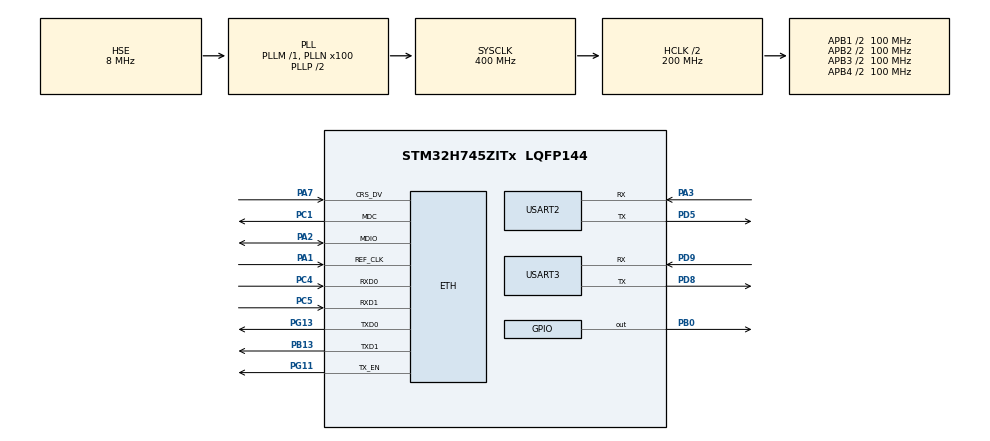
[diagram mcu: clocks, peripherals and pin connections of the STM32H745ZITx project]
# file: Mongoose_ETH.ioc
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CortexM4.IPs=FATFS_M4\:I,FREERTOS_M4\:I,IWDG2\:I,RCC,WWDG2\:I,DMA,BDMA,MDMA,NVIC2\:I,DEBUG,USB_DEVICE_M4\:I,USB_HOST_M4\:I,PDM2PCM_M4\:I,PWR,RESMGR_UTILITY,SYS_M4\:I,CORTEX_M4\:I,OPENAMP_M4\:I,VREFBUF,GPIO
CortexM7.IPs=FATFS_M7\:I,FREERTOS_M7\:I,IWDG1\:I,RCC\:I,WWDG1\:I,DMA\:I,BDMA\:I,MDMA\:I,NVIC1\:I,SYS\:I,USB_OTG_FS\:I,ETH\:I,CORTEX_M7\:I,DEBUG\:I,USB_DEVICE_M7\:I,USB_HOST_M7\:I,PDM2PCM_M7\:I,PWR\:I,RESMGR_UTILITY\:I,OPENAMP_M7\:I,VREFBUF\:I,GPIO\:I,USART3\:I,RNG\:I,TIM6\:I,USART2\:I
CortexM7.Pins=PB0
ETH.MediaInterface=HAL_ETH_RMII_MODE
ETH.RxDescAddress=0x30000000
ETH.TxDescAddress=0x30000080
FREERTOS_M7.Tasks01=defaultTask,24,1000,StartDefaultTask,Default,NULL,Static,defaultTaskBuffer,defaultTaskControlBlock;myTask02,8,1000,StartTask02,Default,NULL,Static,myTask02Buffer,myTask02ControlBlock
FREERTOS_M7.configTOTAL_HEAP_SIZE=30000
FREERTOS_M7.configUSE_NEWLIB_REENTRANT=1
Mcu.Family=STM32H7
Mcu.Name=STM32H745ZITx
Mcu.Package=LQFP144
NVIC1.ETH_IRQn=true\:5\:0\:false\:false\:true\:true\:true\:true\:true
NVIC1.PriorityGroup=NVIC_PRIORITYGROUP_4
NVIC1.TIM6_DAC_IRQn=true\:15\:0\:false\:false\:true\:false\:false\:true\:true
NVIC1.TimeBase=TIM6_DAC_IRQn
NVIC1.TimeBaseIP=TIM6
NVIC2.PriorityGroup=NVIC_PRIORITYGROUP_4
PA1.GPIO_Speed=GPIO_SPEED_FREQ_LOW
PA1.Mode=RMII
PA1.PinAttribute=CortexM7
PA1.Signal=ETH_REF_CLK
PA2.GPIO_Speed=GPIO_SPEED_FREQ_LOW
PA2.Mode=RMII
PA2.PinAttribute=CortexM7
PA2.Signal=ETH_MDIO
PA3.Mode=Asynchronous
PA3.PinAttribute=CortexM7
PA3.Signal=USART2_RX
PA7.GPIO_Speed=GPIO_SPEED_FREQ_LOW
PA7.Mode=RMII
PA7.PinAttribute=CortexM7
PA7.Signal=ETH_CRS_DV
PB0.PinAttribute=CortexM7
PB0.Signal=GPIO_Output
PB13.GPIO_Speed=GPIO_SPEED_FREQ_LOW
PB13.Mode=RMII
PB13.PinAttribute=CortexM7
PB13.Signal=ETH_TXD1
PC1.Mode=RMII
PC1.PinAttribute=CortexM7
PC1.Signal=ETH_MDC
PC4.GPIO_Speed=GPIO_SPEED_FREQ_LOW
PC4.Mode=RMII
PC4.PinAttribute=CortexM7
PC4.Signal=ETH_RXD0
PC5.GPIO_Speed=GPIO_SPEED_FREQ_LOW
PC5.Mode=RMII
PC5.PinAttribute=CortexM7
PC5.Signal=ETH_RXD1
PD5.Mode=Asynchronous
PD5.PinAttribute=CortexM7
PD5.Signal=USART2_TX
PD8.Mode=Asynchronous
PD8.PinAttribute=CortexM7
PD8.Signal=USART3_TX
PD9.Mode=Asynchronous
PD9.PinAttribute=CortexM7
PD9.Signal=USART3_RX
PG11.GPIO_Speed=GPIO_SPEED_FREQ_LOW
PG11.Mode=RMII
PG11.PinAttribute=CortexM7
PG11.Signal=ETH_TX_EN
PG13.GPIO_Speed=GPIO_SPEED_FREQ_LOW
PG13.Mode=RMII
PG13.PinAttribute=CortexM7
PG13.Signal=ETH_TXD0
PH0-OSC_IN\ (PH0).Mode=HSE-External-Oscillator
PH0-OSC_IN\ (PH0).PinAttribute=Free
PH0-OSC_IN\ (PH0).Signal=RCC_OSC_IN
PH1-OSC_OUT\ (PH1).Mode=HSE-External-Oscillator
PH1-OSC_OUT\ (PH1).PinAttribute=Free
PH1-OSC_OUT\ (PH1).Signal=RCC_OSC_OUT
ProjectManager.HeapSize=M4-0x200,M7-0x200
ProjectManager.StackSize=M4-0x400,M7-0x400
ProjectManager.TargetToolchain=STM32CubeIDE
RCC.ADCFreq_Value=16125000
RCC.APB1Freq_Value=100000000
RCC.APB2Freq_Value=100000000
RCC.APB3Freq_Value=100000000
RCC.APB4Freq_Value=100000000
RCC.CortexFreq_Value=400000000
RCC.D1PPRE=RCC_APB3_DIV2
RCC.D2PPRE1=RCC_APB1_DIV2
RCC.D2PPRE2=RCC_APB2_DIV2
RCC.D3PPRE=RCC_APB4_DIV2
RCC.DIVM1=1
RCC.DIVM3=1
RCC.DIVN1=100
RCC.DIVN3=18
RCC.DIVQ3=3
RCC.HCLKFreq_Value=200000000
RCC.HPRE=RCC_HCLK_DIV2
RCC.HSE_VALUE=8000000
RCC.PLL2FRACN=0
RCC.PLL3FRACN=6144
RCC.PLLFRACN=0
RCC.PLLSourceVirtual=RCC_PLLSOURCE_HSE
RCC.SYSCLKFreq_VALUE=400000000
RCC.SYSCLKSource=RCC_SYSCLKSOURCE_PLLCLK
RCC.SupplySource=PWR_DIRECT_SMPS_SUPPLY
RCC.USBCLockSelection=RCC_USBCLKSOURCE_PLL3
RCC.USBFreq_Value=50000000
USART2.VirtualMode-Asynchronous=VM_ASYNC
USART3.VirtualMode-Asynchronous=VM_ASYNC
VP_FREERTOS_M7_VS_CMSIS_V2.Mode=CMSIS_V2
VP_RNG_VS_RNG.Mode=RNG_Activate
VP_SYS_M4_VS_Systick.Mode=SysTick
VP_SYS_VS_tim6.Mode=TIM6
board=NUCLEO-H745ZI-Q

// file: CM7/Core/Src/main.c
/* USER CODE BEGIN Header */
/**
  ******************************************************************************
  * @file           : main.c
  * @brief          : Main program body
  ******************************************************************************
  * @attention
  *
  * Copyright (c) 2024 STMicroelectronics.
  * All rights reserved.
  *
  * This software is licensed under terms that can be found in the LICENSE file
  * in the root directory of this software component.
  * If no LICENSE file comes with this software, it is provided AS-IS.
  *
  ******************************************************************************
  */
/* USER CODE END Header */
#include "main.h"
#include "string.h"
#include "cmsis_os.h"

/* USER CODE BEGIN Includes */
/* USER CODE BEGIN Includes */
#include "mongoose_glue.h"
#include "stm32h7xx_hal.h"
#include "stm32h7xx_hal_flash.h"
#include "stdio.h"
#include "FreeRTOS.h"
#include "task.h"
#include "stdio.h"
/* USER CODE END Includes */

typedef StaticTask_t osStaticThreadDef_t;

/* USER CODE BEGIN PD */

#ifndef HSEM_ID_0
#define HSEM_ID_0 (0U) /* HW semaphore 0*/
#endif

/* USER CODE END PD */

#if defined ( __ICCARM__ ) /*!< IAR Compiler */
#pragma location=0x30000000
ETH_DMADescTypeDef  DMARxDscrTab[ETH_RX_DESC_CNT]; /* Ethernet Rx DMA Descriptors */
#pragma location=0x30000080
ETH_DMADescTypeDef  DMATxDscrTab[ETH_TX_DESC_CNT]; /* Ethernet Tx DMA Descriptors */

#elif defined ( __CC_ARM )  /* MDK ARM Compiler */

__attribute__((at(0x30000000))) ETH_DMADescTypeDef  DMARxDscrTab[ETH_RX_DESC_CNT]; /* Ethernet Rx DMA Descriptors */
__attribute__((at(0x30000080))) ETH_DMADescTypeDef  DMATxDscrTab[ETH_TX_DESC_CNT]; /* Ethernet Tx DMA Descriptors */

#elif defined ( __GNUC__ ) /* GNU Compiler */

ETH_DMADescTypeDef DMARxDscrTab[ETH_RX_DESC_CNT] __attribute__((section(".RxDescripSection"))); /* Ethernet Rx DMA Descriptors */
ETH_DMADescTypeDef DMATxDscrTab[ETH_TX_DESC_CNT] __attribute__((section(".TxDescripSection")));   /* Ethernet Tx DMA Descriptors */
#endif

ETH_TxPacketConfig TxConfig;

ETH_HandleTypeDef heth;

RNG_HandleTypeDef hrng;

UART_HandleTypeDef huart2;
UART_HandleTypeDef huart3;

/* Definitions for defaultTask */
osThreadId_t defaultTaskHandle;
uint32_t defaultTaskBuffer[ 1000 ];
osStaticThreadDef_t defaultTaskControlBlock;
const osThreadAttr_t defaultTask_attributes = {
  .name = "defaultTask",
  .cb_mem = &defaultTaskControlBlock,
  .cb_size = sizeof(defaultTaskControlBlock),
  .stack_mem = &defaultTaskBuffer[0],
  .stack_size = sizeof(defaultTaskBuffer),
  .priority = (osPriority_t) osPriorityNormal,
};
/* Definitions for myTask02 */
osThreadId_t myTask02Handle;
uint32_t myTask02Buffer[ 1000 ];
osStaticThreadDef_t myTask02ControlBlock;
const osThreadAttr_t myTask02_attributes = {
  .name = "myTask02",
  .cb_mem = &myTask02ControlBlock,
  .cb_size = sizeof(myTask02ControlBlock),
  .stack_mem = &myTask02Buffer[0],
  .stack_size = sizeof(myTask02Buffer),
  .priority = (osPriority_t) osPriorityLow,
};

void SystemClock_Config(void);
static void MX_GPIO_Init(void);
static void MX_ETH_Init(void);
static void MX_USART3_UART_Init(void);
static void MX_RNG_Init(void);
static void MX_USART2_UART_Init(void);
void StartDefaultTask(void *argument);
void StartTask02(void *argument);

/* USER CODE BEGIN PFP */
//static void run_mongoose(void);
/* USER CODE END PFP */

/* USER CODE BEGIN 0 */
bool mg_random(void *buf, size_t len) {  // Use on-board RNG
  for (size_t n = 0; n < len; n += sizeof(uint32_t)) {
    uint32_t r;
    HAL_RNG_GenerateRandomNumber(&hrng, &r);
    memcpy((char *) buf + n, &r, n + sizeof(r) > len ? len - n : sizeof(r));
  }
  return true; // TODO(): ensure successful RNG init, then return on false above
}

uint64_t mg_millis(void) {
  return HAL_GetTick();
}

int _write(int fd, unsigned char *buf, int len) {
  if (fd == 1 || fd == 2) {                     // stdout or stderr ?
    HAL_UART_Transmit(&huart3, buf, len, 999);  // Print to the UART
  }
  return len;
}

/* USER CODE END 0 */

int main(void)
{

/* USER CODE BEGIN Boot_Mode_Sequence_0 */
//  int32_t timeout;
/* USER CODE END Boot_Mode_Sequence_0 */

/* USER CODE BEGIN Boot_Mode_Sequence_1 */
  /* Wait until CPU2 boots and enters in stop mode or timeout*/
//  timeout = 0xFFFF;
//  while((__HAL_RCC_GET_FLAG(RCC_FLAG_D2CKRDY) != RESET) && (timeout-- > 0));
//  if ( timeout < 0 )
//  {
//  Error_Handler();
//  }
/* USER CODE END Boot_Mode_Sequence_1 */
  /* MCU Configuration--------------------------------------------------------*/

  /* Reset of all peripherals, Initializes the Flash interface and the Systick. */
  HAL_Init();

  /* Configure the system clock */
  SystemClock_Config();
/* USER CODE BEGIN Boot_Mode_Sequence_2 */
/* When system initialization is finished, Cortex-M7 will release Cortex-M4 by means of
HSEM notification */
/*HW semaphore Clock enable*/
//__HAL_RCC_HSEM_CLK_ENABLE();
///*Take HSEM */
//HAL_HSEM_FastTake(HSEM_ID_0);
///*Release HSEM in order to notify the CPU2(CM4)*/
//HAL_HSEM_Release(HSEM_ID_0,0);
/* wait until CPU2 wakes up from stop mode */
//timeout = 0xFFFF;
//while((__HAL_RCC_GET_FLAG(RCC_FLAG_D2CKRDY) == RESET) && (timeout-- > 0));
//if ( timeout < 0 )
//{
//Error_Handler();
//}
/* USER CODE END Boot_Mode_Sequence_2 */

  /* Initialize all configured peripherals */
  MX_GPIO_Init();
  MX_ETH_Init();
  MX_USART3_UART_Init();
  MX_RNG_Init();
  MX_USART2_UART_Init();

  /* Init scheduler */
  osKernelInitialize();

  /* Create the thread(s) */
  /* creation of defaultTask */
  defaultTaskHandle = osThreadNew(StartDefaultTask, NULL, &defaultTask_attributes);

  /* creation of myTask02 */
  myTask02Handle = osThreadNew(StartTask02, NULL, &myTask02_attributes);

  /* Start scheduler */
  osKernelStart();

  /* We should never get here as control is now taken by the scheduler */

  /* Infinite loop */
  while (1)
  {

  }
}

void SystemClock_Config(void)
{
  RCC_OscInitTypeDef RCC_OscInitStruct = {0};
  RCC_ClkInitTypeDef RCC_ClkInitStruct = {0};

  /** Supply configuration update enable
  */
  HAL_PWREx_ConfigSupply(PWR_DIRECT_SMPS_SUPPLY);

  /** Configure the main internal regulator output voltage
  */
  __HAL_PWR_VOLTAGESCALING_CONFIG(PWR_REGULATOR_VOLTAGE_SCALE1);

  while(!__HAL_PWR_GET_FLAG(PWR_FLAG_VOSRDY)) {}

  /** Initializes the RCC Oscillators according to the specified parameters
  * in the RCC_OscInitTypeDef structure.
  */
  RCC_OscInitStruct.OscillatorType = RCC_OSCILLATORTYPE_HSI48|RCC_OSCILLATORTYPE_HSE;
  RCC_OscInitStruct.HSEState = RCC_HSE_ON;
  RCC_OscInitStruct.HSI48State = RCC_HSI48_ON;
  RCC_OscInitStruct.PLL.PLLState = RCC_PLL_ON;
  RCC_OscInitStruct.PLL.PLLSource = RCC_PLLSOURCE_HSE;
  RCC_OscInitStruct.PLL.PLLM = 1;
  RCC_OscInitStruct.PLL.PLLN = 100;
  RCC_OscInitStruct.PLL.PLLP = 2;
  RCC_OscInitStruct.PLL.PLLQ = 2;
  RCC_OscInitStruct.PLL.PLLR = 2;
  RCC_OscInitStruct.PLL.PLLRGE = RCC_PLL1VCIRANGE_3;
  RCC_OscInitStruct.PLL.PLLVCOSEL = RCC_PLL1VCOWIDE;
  RCC_OscInitStruct.PLL.PLLFRACN = 0;
  if (HAL_RCC_OscConfig(&RCC_OscInitStruct) != HAL_OK)
  {
    Error_Handler();
  }

  /** Initializes the CPU, AHB and APB buses clocks
  */
  RCC_ClkInitStruct.ClockType = RCC_CLOCKTYPE_HCLK|RCC_CLOCKTYPE_SYSCLK
                              |RCC_CLOCKTYPE_PCLK1|RCC_CLOCKTYPE_PCLK2
                              |RCC_CLOCKTYPE_D3PCLK1|RCC_CLOCKTYPE_D1PCLK1;
  RCC_ClkInitStruct.SYSCLKSource = RCC_SYSCLKSOURCE_PLLCLK;
  RCC_ClkInitStruct.SYSCLKDivider = RCC_SYSCLK_DIV1;
  RCC_ClkInitStruct.AHBCLKDivider = RCC_HCLK_DIV2;
  RCC_ClkInitStruct.APB3CLKDivider = RCC_APB3_DIV2;
  RCC_ClkInitStruct.APB1CLKDivider = RCC_APB1_DIV2;
  RCC_ClkInitStruct.APB2CLKDivider = RCC_APB2_DIV2;
  RCC_ClkInitStruct.APB4CLKDivider = RCC_APB4_DIV2;

  if (HAL_RCC_ClockConfig(&RCC_ClkInitStruct, FLASH_LATENCY_2) != HAL_OK)
  {
    Error_Handler();
  }
}

static void MX_ETH_Init(void)
{

   static uint8_t MACAddr[6];

  heth.Instance = ETH;
  MACAddr[0] = 0x00;
  MACAddr[1] = 0x80;
  MACAddr[2] = 0xE1;
  MACAddr[3] = 0x00;
  MACAddr[4] = 0x00;
  MACAddr[5] = 0x00;
  heth.Init.MACAddr = &MACAddr[0];
  heth.Init.MediaInterface = HAL_ETH_RMII_MODE;
  heth.Init.TxDesc = DMATxDscrTab;
  heth.Init.RxDesc = DMARxDscrTab;
  heth.Init.RxBuffLen = 1524;

  if (HAL_ETH_Init(&heth) != HAL_OK)
  {
    Error_Handler();
  }

  memset(&TxConfig, 0 , sizeof(ETH_TxPacketConfig));
  TxConfig.Attributes = ETH_TX_PACKETS_FEATURES_CSUM | ETH_TX_PACKETS_FEATURES_CRCPAD;
  TxConfig.ChecksumCtrl = ETH_CHECKSUM_IPHDR_PAYLOAD_INSERT_PHDR_CALC;
  TxConfig.CRCPadCtrl = ETH_CRC_PAD_INSERT;

}

static void MX_RNG_Init(void)
{

  hrng.Instance = RNG;
  hrng.Init.ClockErrorDetection = RNG_CED_ENABLE;
  if (HAL_RNG_Init(&hrng) != HAL_OK)
  {
    Error_Handler();
  }

}

static void MX_USART2_UART_Init(void)
{

  huart2.Instance = USART2;
  huart2.Init.BaudRate = 115200;
  huart2.Init.WordLength = UART_WORDLENGTH_8B;
  huart2.Init.StopBits = UART_STOPBITS_1;
  huart2.Init.Parity = UART_PARITY_NONE;
  huart2.Init.Mode = UART_MODE_TX_RX;
  huart2.Init.HwFlowCtl = UART_HWCONTROL_NONE;
  huart2.Init.OverSampling = UART_OVERSAMPLING_16;
  huart2.Init.OneBitSampling = UART_ONE_BIT_SAMPLE_DISABLE;
  huart2.Init.ClockPrescaler = UART_PRESCALER_DIV1;
  huart2.AdvancedInit.AdvFeatureInit = UART_ADVFEATURE_NO_INIT;
  if (HAL_UART_Init(&huart2) != HAL_OK)
  {
    Error_Handler();
  }
  if (HAL_UARTEx_SetTxFifoThreshold(&huart2, UART_TXFIFO_THRESHOLD_1_8) != HAL_OK)
  {
    Error_Handler();
  }
  if (HAL_UARTEx_SetRxFifoThreshold(&huart2, UART_RXFIFO_THRESHOLD_1_8) != HAL_OK)
  {
    Error_Handler();
  }
  if (HAL_UARTEx_DisableFifoMode(&huart2) != HAL_OK)
  {
    Error_Handler();
  }

}

static void MX_USART3_UART_Init(void)
{

  huart3.Instance = USART3;
  huart3.Init.BaudRate = 115200;
  huart3.Init.WordLength = UART_WORDLENGTH_8B;
  huart3.Init.StopBits = UART_STOPBITS_1;
  huart3.Init.Parity = UART_PARITY_NONE;
  huart3.Init.Mode = UART_MODE_TX_RX;
  huart3.Init.HwFlowCtl = UART_HWCONTROL_NONE;
  huart3.Init.OverSampling = UART_OVERSAMPLING_16;
  huart3.Init.OneBitSampling = UART_ONE_BIT_SAMPLE_DISABLE;
  huart3.Init.ClockPrescaler = UART_PRESCALER_DIV1;
  huart3.AdvancedInit.AdvFeatureInit = UART_ADVFEATURE_NO_INIT;
  if (HAL_UART_Init(&huart3) != HAL_OK)
  {
    Error_Handler();
  }
  if (HAL_UARTEx_SetTxFifoThreshold(&huart3, UART_TXFIFO_THRESHOLD_1_8) != HAL_OK)
  {
    Error_Handler();
  }
  if (HAL_UARTEx_SetRxFifoThreshold(&huart3, UART_RXFIFO_THRESHOLD_1_8) != HAL_OK)
  {
    Error_Handler();
  }
  if (HAL_UARTEx_DisableFifoMode(&huart3) != HAL_OK)
  {
    Error_Handler();
  }

}

static void MX_GPIO_Init(void)
{
  GPIO_InitTypeDef GPIO_InitStruct = {0};

  /* GPIO Ports Clock Enable */
  __HAL_RCC_GPIOC_CLK_ENABLE();
  __HAL_RCC_GPIOA_CLK_ENABLE();
  __HAL_RCC_GPIOB_CLK_ENABLE();
  __HAL_RCC_GPIOD_CLK_ENABLE();
  __HAL_RCC_GPIOG_CLK_ENABLE();

  /*Configure GPIO pin Output Level */
  HAL_GPIO_WritePin(GPIOB, GPIO_PIN_0, GPIO_PIN_RESET);

  /*Configure GPIO pin : PB0 */
  GPIO_InitStruct.Pin = GPIO_PIN_0;
  GPIO_InitStruct.Mode = GPIO_MODE_OUTPUT_PP;
  GPIO_InitStruct.Pull = GPIO_NOPULL;
  GPIO_InitStruct.Speed = GPIO_SPEED_FREQ_LOW;
  HAL_GPIO_Init(GPIOB, &GPIO_InitStruct);

}

void StartDefaultTask(void *argument)
{
  /* USER CODE BEGIN 5 */

	  /* Infinite loop */
	  for(;;){
		  run_mongoose();
		  osDelay(1);
		  }
}
  /* USER CODE END 5 */

void StartTask02(void *argument)
{
  for(;;)
  {
    osDelay(1);
  }
}

void HAL_TIM_PeriodElapsedCallback(TIM_HandleTypeDef *htim)
{
  if (htim->Instance == TIM6) {
    HAL_IncTick();
  }
}

void Error_Handler(void)
{
  __disable_irq();
  while (1)
  {
  }
}
